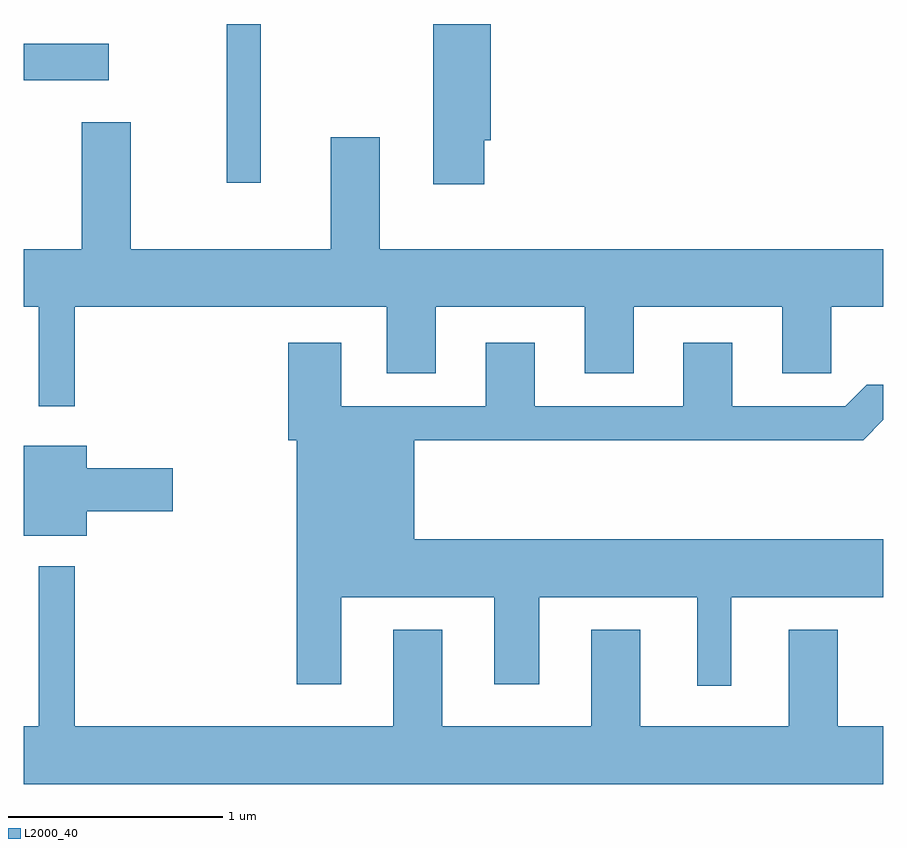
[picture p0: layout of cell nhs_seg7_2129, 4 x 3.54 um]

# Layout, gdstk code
import gdstk
lib = gdstk.Library(unit=1e-6, precision=1e-09)
def R(c, l, rs):  # rectangles x0, y0, x1, y1
    for r in rs: c.add(gdstk.rectangle(r[:2], r[2:], *l))
def P(c, l, *ps):  # polygons
    for p in ps: c.add(gdstk.Polygon(p, *l))
L2000_40 = (2000, 40)

nhs_seg7_2129 = lib.new_cell('nhs_seg7_2129')
R(nhs_seg7_2129, L2000_40, [(250.556,1761.513,250.714,1762.252), (249.611,1761.991,250.008,1762.159)])
P(nhs_seg7_2129, L2000_40, [(251.754,1761.711),(251.784,1761.711),(251.784,1762.252),(251.516,1762.252),(251.516,1761.506),(251.754,1761.506)],
  [(249.849,1760.936),(251.301,1760.936),(251.301,1760.626),(251.529,1760.626),(251.529,1760.936),(252.221,1760.936),(252.221,1760.626),(252.449,1760.626),(252.449,1760.936),(253.141,1760.936),(253.141,1760.626),(253.369,1760.626),(253.369,1760.936),(253.611,1760.936),(253.611,1761.204),(251.269,1761.204),(251.269,1761.724),(251.041,1761.724),(251.041,1761.204),(250.109,1761.204),(250.109,1761.794),(249.881,1761.794),(249.881,1761.204),(249.611,1761.204),(249.611,1760.936),(249.681,1760.936),(249.681,1760.473),(249.849,1760.473)],
  [(252.904,1759.586),(253.611,1759.586),(253.611,1759.854),(251.429,1759.854),(251.429,1760.316),(253.517,1760.316),(253.611,1760.41),(253.611,1760.574),(253.534,1760.574),(253.434,1760.474),(252.909,1760.474),(252.909,1760.769),(252.681,1760.769),(252.681,1760.474),(251.989,1760.474),(251.989,1760.769),(251.761,1760.769),(251.761,1760.474),(251.089,1760.474),(251.089,1760.769),(250.841,1760.769),(250.841,1760.316),(250.881,1760.316),(250.881,1759.181),(251.089,1759.181),(251.089,1759.586),(251.801,1759.586),(251.801,1759.181),(252.009,1759.181),(252.009,1759.586),(252.746,1759.586),(252.746,1759.173),(252.904,1759.173)],
  [(249.904,1759.986),(250.304,1759.986),(250.304,1760.184),(249.904,1760.184),(249.904,1760.289),(249.611,1760.289),(249.611,1759.871),(249.904,1759.871)],
  [(253.611,1758.984),(253.399,1758.984),(253.399,1759.434),(253.171,1759.434),(253.171,1758.984),(252.479,1758.984),(252.479,1759.434),(252.251,1759.434),(252.251,1758.984),(251.559,1758.984),(251.559,1759.434),(251.331,1759.434),(251.331,1758.984),(249.849,1758.984),(249.849,1759.728),(249.681,1759.728),(249.681,1758.984),(249.611,1758.984),(249.611,1758.716),(253.611,1758.716)])

lib.write_gds('nhs_seg7_2129.gds')
